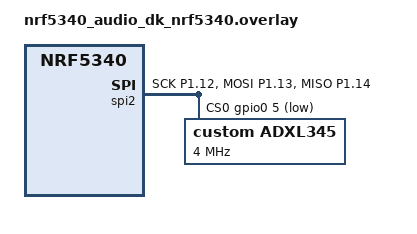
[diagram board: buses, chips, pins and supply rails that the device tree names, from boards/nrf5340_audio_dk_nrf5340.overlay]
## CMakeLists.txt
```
list(APPEND EXTRA_ZEPHYR_MODULES
  ${CMAKE_CURRENT_SOURCE_DIR}/custom_adxl345_driver
  )

cmake_minimum_required(VERSION 3.20.0)

find_package(Zephyr REQUIRED HINTS $ENV{ZEPHYR_BASE})
project(my_custom_adxl345)

target_sources(app PRIVATE  src/main.c)
```

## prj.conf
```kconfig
#
# Copyright (c) 2024 Nordic Semiconductor ASA
#
# SPDX-License-Identifier: LicenseRef-Nordic-5-Clause
#

# Logging
CONFIG_LOG=y

# Peripherals
CONFIG_GPIO=y
CONFIG_SPI=y
CONFIG_SENSOR=y
# STEP 1.1 - Enable the custom driver
CONFIG_CUSTOM_ADXL345_DRIVER=y

# STEP 1.2 - Enable application defined syscalls
CONFIG_APPLICATION_DEFINED_SYSCALL=y
# DT_HAS_ADI_ADXL345_ENABLED=y
CONFIG_SENSOR_LOG_LEVEL_DEFAULT=y
```

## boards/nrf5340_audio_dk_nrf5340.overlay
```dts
&spi2 {
    compatible = "nordic,nrf-spim";
    status = "okay";
    cs-gpios = <&gpio0 5 GPIO_ACTIVE_LOW>;
    pinctrl-0 = <&spi2_default>;
    pinctrl-1 = <&spi2_sleep>;
    pinctrl-names = "default", "sleep";

    adxl345: adxl345@0 {
	compatible = "custom,adxl345";
	reg = <0>;
	spi-max-frequency = <4000000>;
    };
};

&pinctrl {
    spi2_default: spi2_default {
        group1 {
            psels = <NRF_PSEL(SPIM_SCK, 1, 12)>,    // SCK
                    <NRF_PSEL(SPIM_MOSI, 1, 13)>,   // SDA
                    <NRF_PSEL(SPIM_MISO, 1, 14)>;   // SDO
        };
    };
    spi2_sleep: spi2_sleep {
        group1 {
            psels = <NRF_PSEL(SPIM_SCK, 1, 12)>,
                    <NRF_PSEL(SPIM_MOSI, 1, 13)>,
                    <NRF_PSEL(SPIM_MISO, 1, 14)>;
            low-power-enable;
        };
    };
};

&pwm0 {
    status = "disabled";
};
```

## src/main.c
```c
/*
 * Copyright (c) 2024 Nordic Semiconductor ASA
 *
 * SPDX-License-Identifier: LicenseRef-Nordic-5-Clause
 */

#include <stdlib.h>
#include <zephyr/drivers/sensor.h>
#include <zephyr/sys/util_macro.h>


#include <stdio.h>
#include <zephyr/kernel.h>
#include <zephyr/device.h>
#include <zephyr/devicetree.h>
#include <zephyr/drivers/gpio.h>
#include <zephyr/drivers/spi.h>
#include <zephyr/logging/log.h>

#include "custom_adxl345_driver.h"

LOG_MODULE_REGISTER(Lesson7_Exercise1, LOG_LEVEL_INF);

#define SPIOP	SPI_WORD_SET(8) | SPI_TRANSFER_MSB
#define LED0_NODE DT_ALIAS(led0)

static const struct gpio_dt_spec ledspec = GPIO_DT_SPEC_GET(LED0_NODE, gpios);
const struct device *spi_dev = DEVICE_DT_GET(DT_NODELABEL(adxl345));

static const enum sensor_channel channels[] = {
	SENSOR_CHAN_ACCEL_X,
	SENSOR_CHAN_ACCEL_Y,
	SENSOR_CHAN_ACCEL_Z,
};

int main(void)
{
	int err;

	LOG_INF("Lesson 7 - Exercise 1 started");

	err = gpio_is_ready_dt(&ledspec);
	if (!err) {
		LOG_INF("Error: GPIO device is not ready, err: %d", err);
		return 0;
	}

	err = device_is_ready(spi_dev);
	if (!err) {
		LOG_INF("Error: SPI device is not ready, err: %d", err);
		return 0;
	}

	gpio_pin_configure_dt(&ledspec, GPIO_OUTPUT_ACTIVE);
	
	adxl345_init(spi_dev);

	while (1) {		
		int ret;
		struct sensor_value accel[3];
		
		ret = adxl345_sample_fetch(spi_dev);
		if (ret < 0) {
			printk("%s: sensor_sample_fetch() failed: %d\n", spi_dev->name, ret);
			return ret;
		}
		
		for (size_t i = 0; i < ARRAY_SIZE(channels); i++) {
			ret = adxl345_channel_get(spi_dev, channels[i], &accel[i]);
			if (ret < 0) {
				printk("%s: sensor_channel_get(%c) failed: %d\n", spi_dev->name, 'X' + i, ret);
				return ret;
			}
		}

		printk("%16s [m/s^2]:    (%d, %d, %d)\n", spi_dev->name,
	       &accel[0], &accel[1], &accel[2]);

		gpio_pin_toggle_dt(&ledspec);
		k_sleep(K_MSEC(1000));
	}

	return 0;
}
```
